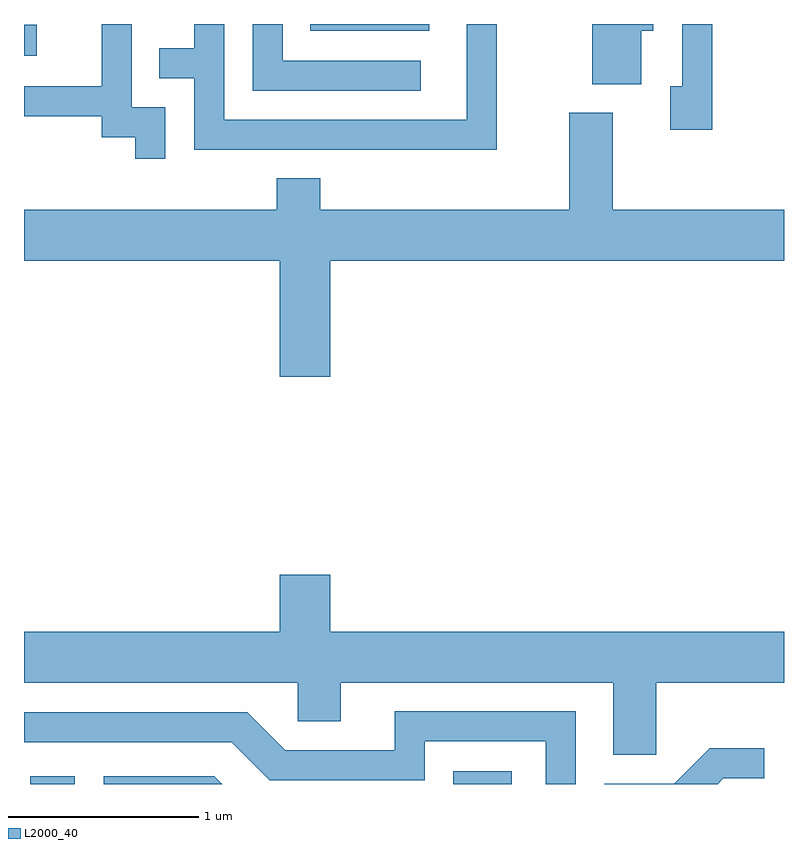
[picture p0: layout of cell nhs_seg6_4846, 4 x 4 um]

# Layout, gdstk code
import gdstk
lib = gdstk.Library(unit=1e-6, precision=1e-09)
def R(c, l, rs):  # rectangles x0, y0, x1, y1
    for r in rs: c.add(gdstk.rectangle(r[:2], r[2:], *l))
def P(c, l, *ps):  # polygons
    for p in ps: c.add(gdstk.Polygon(p, *l))
L2000_40 = (2000, 40)

nhs_seg6_4846 = lib.new_cell('nhs_seg6_4846')
R(nhs_seg6_4846, L2000_40, [(333.643,1556.162,333.879,1556.204), (335.871,1556.162,336.179,1556.229), (333.611,1559.996,333.678,1560.159), (335.118,1560.126,335.744,1560.162)])
P(nhs_seg6_4846, L2000_40, [(336.859,1560.126),(336.924,1560.126),(336.924,1560.162),(336.601,1560.162),(336.601,1559.846),(336.859,1559.846)],
  [(334.354,1559.724),(334.179,1559.724),(334.179,1560.162),(334.021,1560.162),(334.021,1559.834),(333.611,1559.834),(333.611,1559.676),(334.021,1559.676),(334.021,1559.566),(334.196,1559.566),(334.196,1559.453),(334.354,1559.453)],
  [(335.698,1559.969),(334.974,1559.969),(334.974,1560.162),(334.816,1560.162),(334.816,1559.811),(335.698,1559.811)],
  [(336.099,1560.162),(335.941,1560.162),(335.941,1559.659),(334.664,1559.659),(334.664,1560.162),(334.506,1560.162),(334.506,1560.034),(334.323,1560.034),(334.323,1559.876),(334.506,1559.876),(334.506,1559.501),(336.099,1559.501)],
  [(337.234,1560.162),(337.076,1560.162),(337.076,1559.834),(337.011,1559.834),(337.011,1559.606),(337.234,1559.606)],
  [(335.224,1558.916),(337.611,1558.916),(337.611,1559.184),(336.709,1559.184),(336.709,1559.694),(336.481,1559.694),(336.481,1559.184),(335.169,1559.184),(335.169,1559.349),(334.941,1559.349),(334.941,1559.184),(333.611,1559.184),(333.611,1558.916),(334.956,1558.916),(334.956,1558.306),(335.224,1558.306)],
  [(336.939,1556.696),(337.611,1556.696),(337.611,1556.964),(335.224,1556.964),(335.224,1557.264),(334.956,1557.264),(334.956,1556.964),(333.611,1556.964),(333.611,1556.696),(335.051,1556.696),(335.051,1556.491),(335.279,1556.491),(335.279,1556.696),(336.711,1556.696),(336.711,1556.316),(336.939,1556.316)],
  [(336.514,1556.544),(335.561,1556.544),(335.561,1556.339),(334.987,1556.339),(334.787,1556.539),(333.611,1556.539),(333.611,1556.381),(334.704,1556.381),(334.904,1556.181),(335.719,1556.181),(335.719,1556.386),(336.356,1556.386),(336.356,1556.162),(336.514,1556.162)],
  [(337.292,1556.191),(337.508,1556.191),(337.508,1556.349),(337.219,1556.349),(337.034,1556.164),(336.666,1556.164),(336.666,1556.162),(337.263,1556.162)],
  [(334.612,1556.204),(334.031,1556.204),(334.031,1556.162),(334.654,1556.162)])

lib.write_gds('nhs_seg6_4846.gds')
